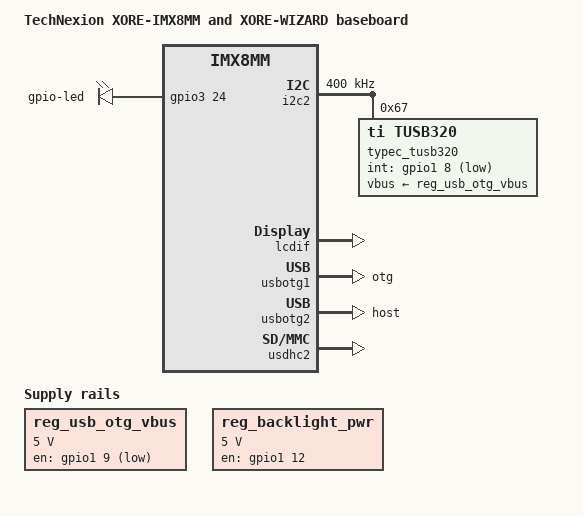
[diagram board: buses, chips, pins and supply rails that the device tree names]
/*
 * Copyright 2018 TechNexion Ltd.
 * Copyright 2018 NXP
 *
 * Author: Richard Hu <richard.hu@technexion.com>
 *         Ray Chang <ray.chang@technexion.com>
 *	   Andy Lin <andy.lin@technexion.com>
 *
 * This program is free software; you can redistribute it and/or
 * modify it under the terms of the GNU General Public License
 * as published by the Free Software Foundation; either version 2
 * of the License, or (at your option) any later version.
 *
 * This program is distributed in the hope that it will be useful,
 * but WITHOUT ANY WARRANTY; without even the implied warranty of
 * MERCHANTABILITY or FITNESS FOR A PARTICULAR PURPOSE.  See the
 * GNU General Public License for more details.
 */

/dts-v1/;

#include "imx8mm-xore.dtsi"

/ {
	model = "TechNexion XORE-IMX8MM and XORE-WIZARD baseboard";
	compatible = "fsl,imx8mm-xore", "fsl,imx8mm";

	regulators {
		compatible = "simple-bus";
		#address-cells = <1>;
		#size-cells = <0>;

		reg_usb_otg_vbus: usb_otg_vbus {
			pinctrl-names = "default";
			pinctrl-0 = <&pinctrl_otg_vbus>;
			compatible = "regulator-fixed";
			regulator-name = "usb_otg_vbus";
			regulator-min-microvolt = <5000000>;
			regulator-max-microvolt = <5000000>;
			gpio = <&gpio1 9 GPIO_ACTIVE_LOW>;
		};

		reg_backlight_pwr: regulator_blpwr {
			pinctrl-names = "default";
			pinctrl-0 = <&pinctrl_backlight_pwr>;
			compatible = "regulator-fixed";
			regulator-name = "backlight_pwr";
			regulator-min-microvolt = <5000000>;
			regulator-max-microvolt = <5000000>;
			gpio = <&gpio1 12 GPIO_ACTIVE_HIGH>;
			enable-active-high;
		};
	};

	leds {
		compatible = "gpio-leds";
		pinctrl-names = "default";
		pinctrl-0 = <&pinctrl_gpio_led>;

		led {
			label = "gpio-led";
			gpios = <&gpio3 24 0>;
			default-state = "on";
		};
	};
};

&iomuxc {
	imx8mm-xore {
		pinctrl_otg_vbus: otgvbusgrp {
			fsl,pins = <
				MX8MM_IOMUXC_GPIO1_IO09_GPIO1_IO9	0x19 /* USB OTG VBUS Enable */
			>;
		};

		pinctrl_backlight_pwr: backlight_pwrgrp {
			fsl,pins = <
				MX8MM_IOMUXC_GPIO1_IO12_GPIO1_IO12	0x19
			>;
		};

		pinctrl_tusb320_irq: tusb320_irqgrp {
			fsl,pins = <
				MX8MM_IOMUXC_GPIO1_IO08_GPIO1_IO8	0x41 /* GPIO_P258, TUSB320 INT*/
			>;
		};

		pinctrl_csi_pwn: csi_pwn_grp {
			fsl,pins = <
				MX8MM_IOMUXC_GPIO1_IO06_GPIO1_IO6	0x19
			>;
		};

		pinctrl_csi_rst: csi_rst_grp {
			fsl,pins = <
				MX8MM_IOMUXC_GPIO1_IO05_GPIO1_IO5		0x19
				MX8MM_IOMUXC_GPIO1_IO14_CCMSRCGPCMIX_CLKO1	0x59
			>;
		};

		pinctrl_mipi_dsi_rst: mipi_dsi_rstgrp {
			fsl,pins = <
				MX8MM_IOMUXC_GPIO1_IO11_GPIO1_IO11	0x16 /* DSI RST */
			>;
		};

		pinctrl_ft5336_touch_irq: ft5336_irqgrp {
			fsl,pins = <
				MX8MM_IOMUXC_SPDIF_RX_GPIO5_IO4		0x19 /* GPIO_P256, Touch INT */
			>;
		};

		pinctrl_ft5336_touch_rst: ft5336_rstgrp {
			fsl,pins = <
				MX8MM_IOMUXC_SAI1_MCLK_GPIO4_IO20	0x16 /* GPIO_P256, Touch RST */
			>;
		};

		pinctrl_gpio_led: gpioledgrp {
			fsl,pins = <
				MX8MM_IOMUXC_SAI5_RXD3_GPIO3_IO24	0x19
			>;
		};
		
	};
};

&i2c2 {
	clock-frequency = <400000>;
	pinctrl-names = "default";
	pinctrl-0 = <&pinctrl_i2c2>;
	status = "okay";

 
	typec_tusb320:tusb320@67 {
		compatible = "ti,tusb320";
		pinctrl-names = "default";
		pinctrl-0 = <&pinctrl_tusb320_irq>;
		reg = <0x67>;
		vbus-supply = <&reg_usb_otg_vbus>;
		tusb320,int-gpio = <&gpio1 8 GPIO_ACTIVE_LOW>;
		tusb320,select-mode = <0>;
		tusb320,dfp-power = <0>;
	};

};

&lcdif {
	status = "okay";
};

&usbotg1 {
	dr_mode = "otg";
	extcon = <&typec_tusb320>;
	status = "okay";
};

&usbotg2 {
	dr_mode = "host";
	status = "okay";
};

/* Baseboard microSD slot */
&usdhc2 {
	status = "okay";
};
